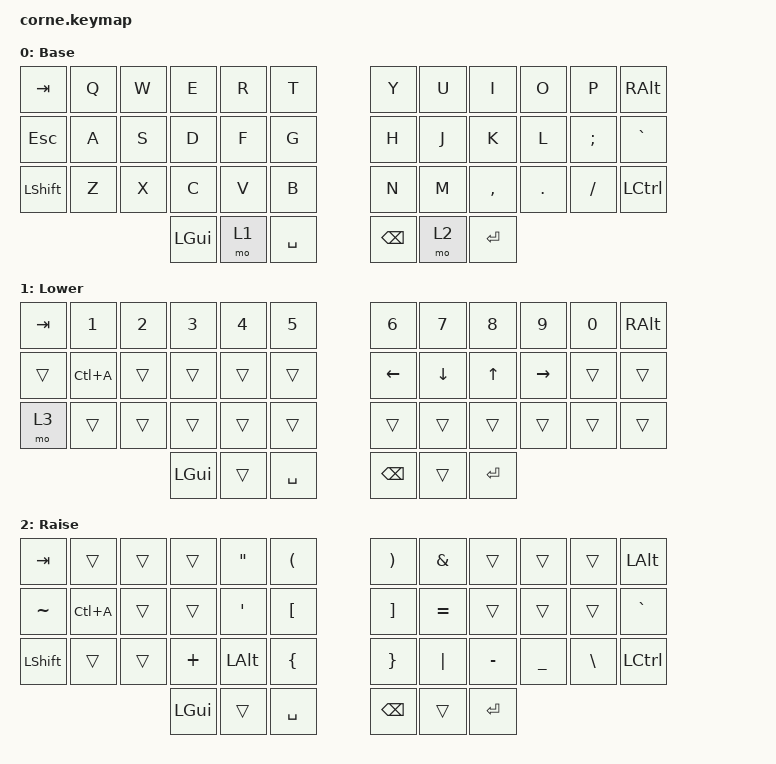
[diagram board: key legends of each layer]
/*
 * Copyright (c) 2020 The ZMK Contributors
 *
 * SPDX-License-Identifier: MIT
 */

#include <behaviors.dtsi>
#include <dt-bindings/zmk/keys.h>
#include <dt-bindings/zmk/bt.h>

/ {
        keymap {
                compatible = "zmk,keymap";

                default_layer {
// --------------------------------------   ---------------------------------------
// | TAB  |  Q  |  W  |  E  |  R  |  T  |   |  Y  |  U   |  I  |  O  |  P  | ALT  |
// | ESC  |  A  |  S  |  D  |  F  |  G  |   |  H  |  J   |  K  |  L  |  ;  |  `   |
// | SHFT |  Z  |  X  |  C  |  V  |  B  |   |  N  |  M   |  ,  |  .  |  /  | CTRL |
//                    | GUI | LWR | SPC |   | BSP | RSE  | RET |
                        display-name = "Base";
                        bindings = <
   &kp TAB   &kp Q &kp W &kp E &kp R &kp T   &kp Y &kp U  &kp I     &kp O   &kp P    &kp RALT 
   &kp ESC   &kp A &kp S &kp D &kp F &kp G   &kp H &kp J  &kp K     &kp L   &kp SEMI &kp GRAVE
   &kp LSHFT &kp Z &kp X &kp C &kp V &kp B   &kp N &kp M  &kp COMMA &kp DOT &kp FSLH &kp LCTRL
                  &kp LGUI &mo 1 &kp SPACE   &kp BSPC &mo 2 &kp RET
                        >;
                };
                lower_layer {
// --------------------------------------   --------------------------------------
// |  TAB |  1  |  2  |  3  |  4  |  5  |   |  6  |  7  |  8  |  9  |  0  | ALT  |
// |      |LC(A)|     |     |     |     |   | LFT | DWN |  UP | RGT |     |      |
// | lay3 |     |     |     |     |     |   |     |     |     |     |     |      |
//                    | GUI |     | SPC |   | BSP |     | RET |
                        display-name = "Lower";
                        bindings = <
   &kp TAB &kp N1    &kp N2 &kp N3 &kp N4 &kp N5   &kp N6   &kp N7   &kp N8 &kp N9    &kp N0 &kp RALT
   &trans  &kp LC(A) &trans &trans &trans &trans   &kp LEFT &kp DOWN &kp UP &kp RIGHT &trans &trans
   &mo 3   &trans    &trans &trans &trans &trans   &trans   &trans   &trans &trans    &trans &trans
                       &kp LGUI &trans &kp SPACE   &kp BSPC &trans   &kp RET
                        >;
                };      
                raise_layer {
// --------------------------------------   --------------------------------------
// |  TAB |     |     |     |  "  |  (  |   |  )  |  &  |     |     |     | LALT |
// |  ~   |     |     |     |  '  |  [  |   |  ]  |  =  |     |     |     |  `   |
// | SHFT |     |     |  +  | LALT|  {  |   |  }  | "|" |  -  |  _  |  \  | CTRL |
//                    | GUI |     | SPC |   | BSP |     | RET |
                        display-name = "Raise";
                        bindings = <
   &kp  TAB  &trans    &trans &trans   &kp DQT   &kp LPAR    &kp RPAR  &kp AMPERSAND &trans    &trans         &trans &kp LALT
   &kp TILDE &kp LC(A) &trans &trans   &kp SQT   &kp LBKT    &kp RBKT  &kp EQUAL     &trans    &trans         &trans &kp GRAVE
   &kp LSHFT &trans    &trans &kp PLUS &kp LALT  &kp LBRC    &kp RBRC  &kp PIPE      &kp MINUS &kp UNDERSCORE &kp BSLH &kp LCTRL
                    	     &kp LGUI &trans    &kp SPACE   &kp BSPC  &trans    &kp RET
                        >;
                };
        };
};
